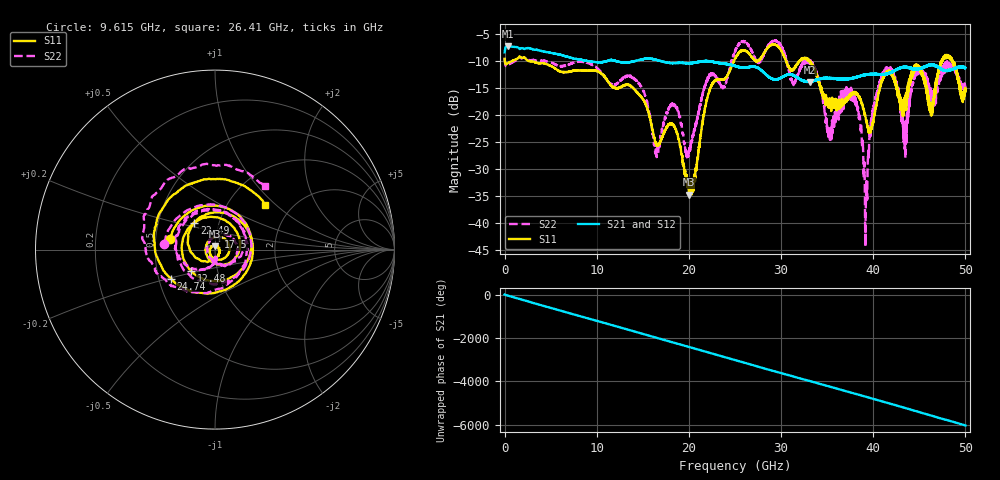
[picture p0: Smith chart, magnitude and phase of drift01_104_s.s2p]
!Created with skrf (http://scikit-rf.org).
# Hz S RI R 50.0
!freq ReS11 ImS11 ReS21 ImS21 ReS12 ImS12 ReS22 ImS22
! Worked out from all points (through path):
!   10001 points, 300 kHz to 50 GHz, reference 50 ohm
!   highest |S21| = -7.33 dB at 315.3 MHz (marker M1); lowest = -13.9 dB at 33.1 GHz (marker M2)
!   group delay of S21, straight-line fit = 335 ps
!   lowest |S11| = -34.7 dB at 20.03 GHz (marker M3), VSWR 1.04, Z = 50 + j1.83 ohm
!   |S11| at or under -10 dB: 2.552 GHz to 24.9 GHz (22.35 GHz wide, 163 % of centre); 30.52 GHz to 32.02 GHz (1.493 GHz wide, 4.77 % of centre); 33.07 GHz to 47.44 GHz (14.37 GHz wide, 35.7 % of centre) (the widest 3 of 17)
!   |S22| runs from -44.3 to -6.3 dB; largest |S21 - S12| = 0.0098
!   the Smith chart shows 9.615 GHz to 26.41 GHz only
!   S11 on the Smith chart (normalised r, x): 9.615 GHz: 0.60, +0.08; 12.48 GHz: 0.75, -0.19; 17.5 GHz: 1.03, +0.15; 22.49 GHz: 0.76, +0.24; 24.74 GHz: 0.58, -0.21; 26.41 GHz: 1.48, +0.86
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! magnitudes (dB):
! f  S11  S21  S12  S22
! 300 kHz  -9.6  -8.5  -8.5  -9.5
! 315.3 MHz  -10.5  -7.3  -7.3  -10.9
! 8.335 GHz  -11.8  -9.8  -9.8  -10.2
! 9.615 GHz  -11.8  -10.2  -10.2  -10.8
! 12.48 GHz  -15.0  -10.2  -10.2  -13.8
! 16.67 GHz  -25.7  -9.9  -10.0  -27.1
! 17.5 GHz  -22.7  -10.3  -10.3  -20.4
! 20.03 GHz  -34.7  -10.5  -10.5  -26.4
! 22.49 GHz  -14.4  -10.2  -10.2  -12.6
! 24.74 GHz  -10.6  -10.8  -10.9  -9.5
! 25 GHz  -9.6  -11.0  -11.0  -8.3
! 26.41 GHz  -8.5  -11.3  -11.2  -6.9
! 33.1 GHz  -10.1  -13.9  -13.8  -10.3
! 33.34 GHz  -10.6  -13.8  -13.8  -10.5
! 35.24 GHz  -16.9  -13.2  -13.2  -23.7
! 37.99 GHz  -15.9  -13.1  -13.1  -17.1
! 39.17 GHz  -20.5  -12.6  -12.6  -40.7
! 40.14 GHz  -19.9  -12.5  -12.5  -17.8
! 41.67 GHz  -12.0  -12.3  -12.3  -11.8
! 43.45 GHz  -16.9  -11.3  -11.3  -25.6
! 44.89 GHz  -11.6  -11.6  -11.5  -11.6
! 50 GHz  -15.8  -11.3  -11.4  -15.0
